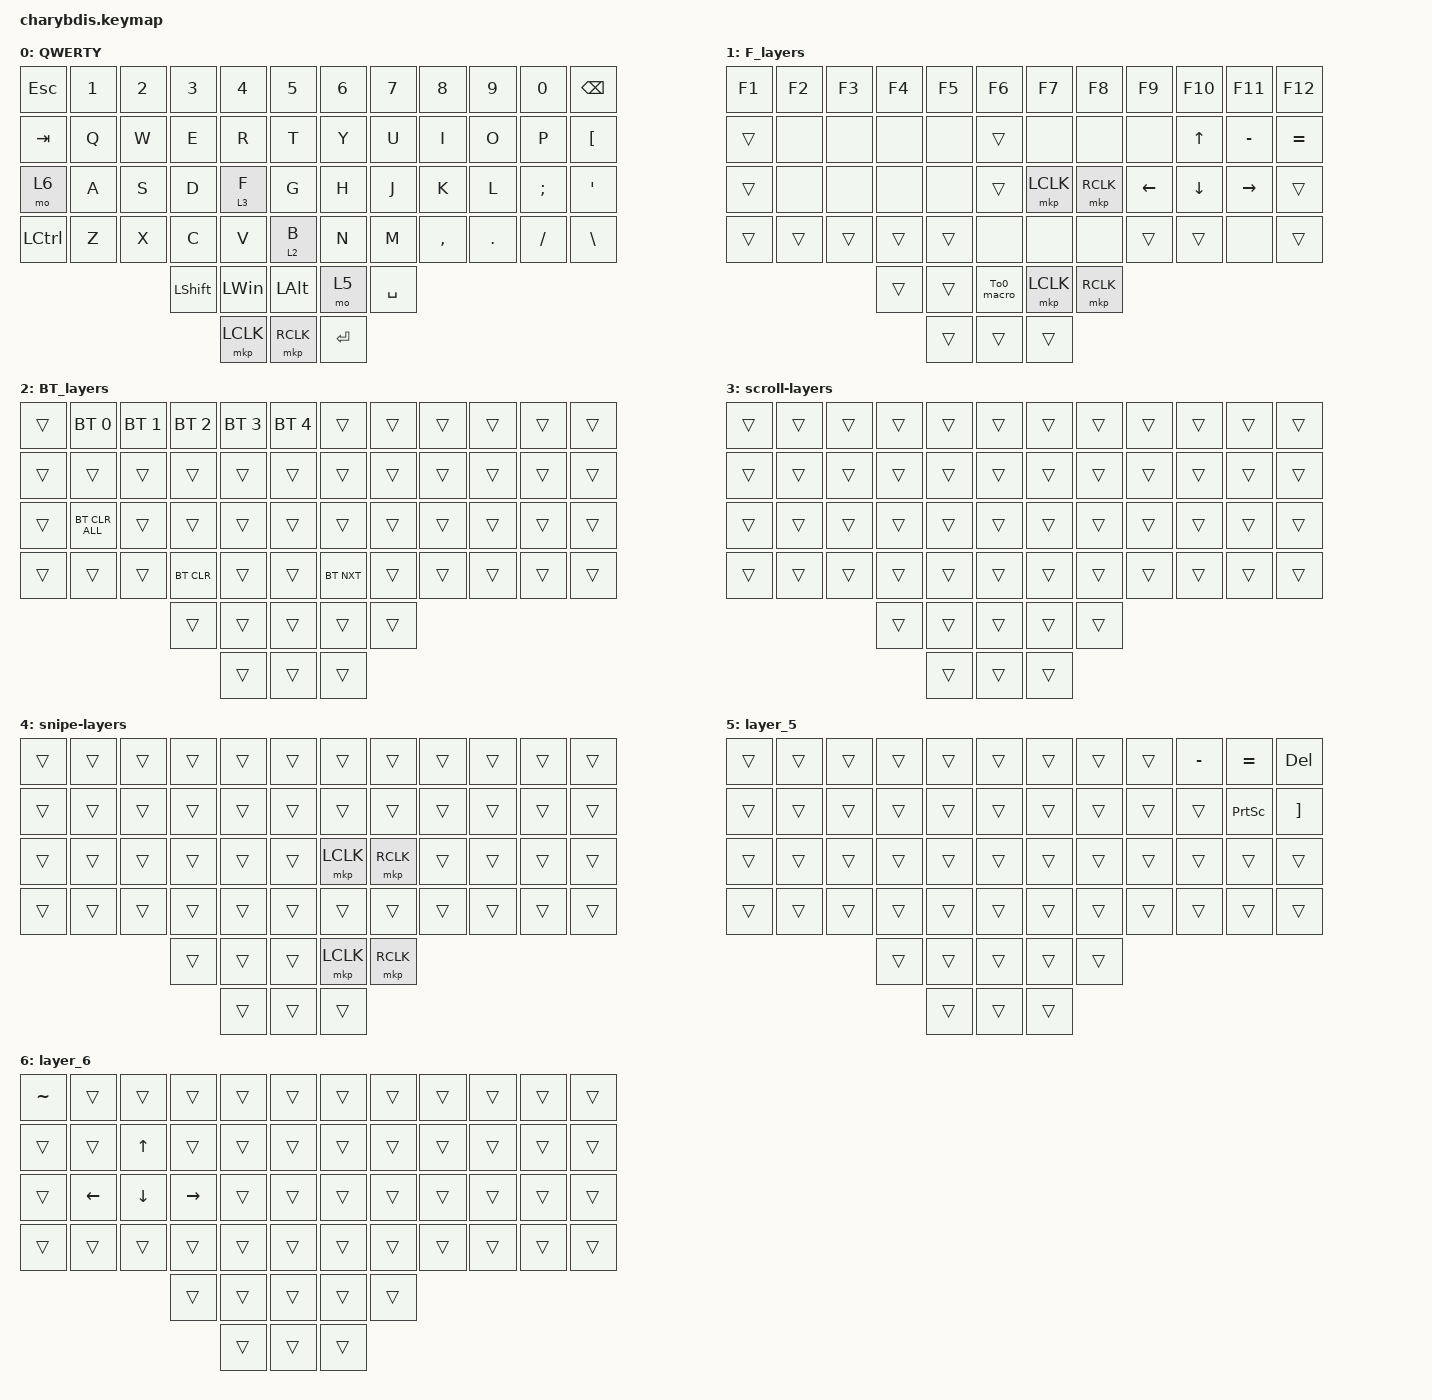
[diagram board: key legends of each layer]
#include <behaviors.dtsi>
#include <dt-bindings/zmk/bt.h>
#include <dt-bindings/zmk/keys.h>
#include <dt-bindings/zmk/pointing.h>
#include <dt-bindings/zmk/rgb.h>

&lt {
    tapping-term-ms = <200>;
    flavor = "balanced";
    quick-tap-ms = <150>;
};

/ {
    macros {
        To1_macro: To1_macro {
            compatible = "zmk,behavior-macro";
            label = "To1_macro";
            #binding-cells = <0>;
            bindings = <&rgb_ug RGB_EFF &rgb_ug RGB_COLOR_HSB(128,100,50) &to 1>;
        };

        To0_macro: To0_macro {
            compatible = "zmk,behavior-macro";
            label = "To0_macro";
            #binding-cells = <0>;
            bindings = <&rgb_ug RGB_EFR &to 0>;
        };

        To2_macro: To2_macro {
            compatible = "zmk,behavior-macro";
            label = "To2_macro";
            #binding-cells = <0>;
            bindings =
                <&to 2>,
                <&macro_wait_time 30>,
                <&rgb_ug RGB_COLOR_HSB(250,100,50)>;
        };
    };

    keymap {
        compatible = "zmk,keymap";

        QWERTY {
            bindings = <
&kp ESC           &kp N1  &kp N2  &kp N3          &kp N4        &kp N5          &kp N6     &kp N7     &kp N8     &kp N9   &kp N0    &kp BACKSPACE
&kp TAB           &kp Q   &kp W   &kp E           &kp R         &kp T           &kp Y      &kp U      &kp I      &kp O    &kp P     &kp LEFT_BRACKET
&mo 6             &kp A   &kp S   &kp D           &lt 3 F       &kp G           &kp H      &kp J      &kp K      &kp L    &kp SEMI  &kp SQT
&kp LEFT_CONTROL  &kp Z   &kp X   &kp C           &kp V         &lt 2 B         &kp N      &kp M      &kp COMMA  &kp DOT  &kp FSLH  &kp BACKSLASH
                                  &kp LEFT_SHIFT  &kp LEFT_WIN  &kp LEFT_ALT    &mo 5      &kp SPACE
                                                  &mkp LCLK     &mkp RCLK       &kp ENTER
            >;
        };

        F_layers {
            bindings = <
&kp F1  &kp F2  &kp F3  &kp F4  &kp F5  &kp F6        &kp F7     &kp F8     &kp F9    &kp F10       &kp F11    &kp F12
&trans  &none   &none   &none   &none   &trans        &none      &none      &none     &kp UP_ARROW  &kp MINUS  &kp EQUAL
&trans  &none   &none   &none   &none   &trans        &mkp LCLK  &mkp RCLK  &kp LEFT  &kp DOWN      &kp RIGHT  &trans
&trans  &trans  &trans  &trans  &trans  &none         &none      &none      &trans    &trans        &none      &trans
                        &trans  &trans  &To0_macro    &mkp LCLK  &mkp RCLK
                                &trans  &trans        &trans
            >;
        };

        BT_layers {
            bindings = <
&trans  &bt BT_SEL 0    &bt BT_SEL 1  &bt BT_SEL 2  &bt BT_SEL 3  &bt BT_SEL 4    &trans      &trans  &trans  &trans  &trans  &trans
&trans  &trans          &trans        &trans        &trans        &trans          &trans      &trans  &trans  &trans  &trans  &trans
&trans  &bt BT_CLR_ALL  &trans        &trans        &trans        &trans          &trans      &trans  &trans  &trans  &trans  &trans
&trans  &trans          &trans        &bt BT_CLR    &trans        &trans          &bt BT_NXT  &trans  &trans  &trans  &trans  &trans
                                      &trans        &trans        &trans          &trans      &trans
                                                    &trans        &trans          &trans
            >;
        };

        scroll-layers {
            bindings = <
&trans  &trans  &trans  &trans  &trans  &trans    &trans  &trans  &trans  &trans  &trans  &trans
&trans  &trans  &trans  &trans  &trans  &trans    &trans  &trans  &trans  &trans  &trans  &trans
&trans  &trans  &trans  &trans  &trans  &trans    &trans  &trans  &trans  &trans  &trans  &trans
&trans  &trans  &trans  &trans  &trans  &trans    &trans  &trans  &trans  &trans  &trans  &trans
                        &trans  &trans  &trans    &trans  &trans
                                &trans  &trans    &trans
            >;
        };

        snipe-layers {
            bindings = <
&trans  &trans  &trans  &trans  &trans  &trans    &trans     &trans     &trans  &trans  &trans  &trans
&trans  &trans  &trans  &trans  &trans  &trans    &trans     &trans     &trans  &trans  &trans  &trans
&trans  &trans  &trans  &trans  &trans  &trans    &mkp LCLK  &mkp RCLK  &trans  &trans  &trans  &trans
&trans  &trans  &trans  &trans  &trans  &trans    &trans     &trans     &trans  &trans  &trans  &trans
                        &trans  &trans  &trans    &mkp LCLK  &mkp RCLK
                                &trans  &trans    &trans
            >;
        };

        layer_5 {
            bindings = <
&trans  &trans  &trans  &trans  &trans  &trans    &trans  &trans  &trans  &kp MINUS  &kp EQUAL        &kp DELETE
&trans  &trans  &trans  &trans  &trans  &trans    &trans  &trans  &trans  &trans     &kp PRINTSCREEN  &kp RIGHT_BRACKET
&trans  &trans  &trans  &trans  &trans  &trans    &trans  &trans  &trans  &trans     &trans           &trans
&trans  &trans  &trans  &trans  &trans  &trans    &trans  &trans  &trans  &trans     &trans           &trans
                        &trans  &trans  &trans    &trans  &trans
                                &trans  &trans    &trans
            >;
        };

        layer_6 {
            bindings = <
&kp TILDE  &trans    &trans        &trans     &trans  &trans    &trans  &trans  &trans  &trans  &trans  &trans
&trans     &trans    &kp UP_ARROW  &trans     &trans  &trans    &trans  &trans  &trans  &trans  &trans  &trans
&trans     &kp LEFT  &kp DOWN      &kp RIGHT  &trans  &trans    &trans  &trans  &trans  &trans  &trans  &trans
&trans     &trans    &trans        &trans     &trans  &trans    &trans  &trans  &trans  &trans  &trans  &trans
                                   &trans     &trans  &trans    &trans  &trans
                                              &trans  &trans    &trans
            >;
        };
    };
};
